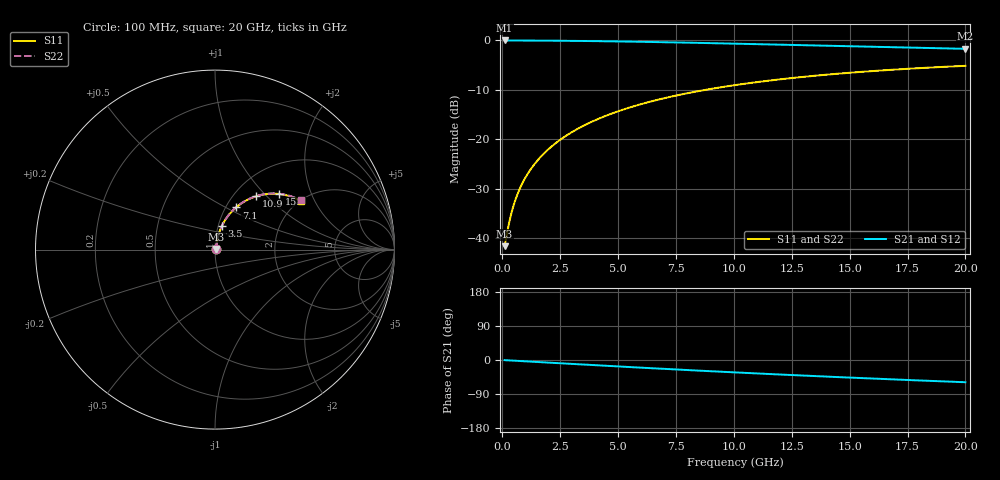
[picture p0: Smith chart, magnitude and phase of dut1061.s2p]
! Touchstone file exported from HFSS 2026.1.0
!  File:  C:/ffzhzh/LocalFiles/Ansys_Project_Files/temp_train_BSMRDL_1061_1783174101_43440.aedt
!  Generated:  10:09:46 PM Jul  4, 2026
!  Design:  BSMRDL
!  Project:  temp_train_BSMRDL_1061_1783174101_43440
! Variables:
!  h_bsmrdl = 3.25um
!  h_ox = 20um
!  h_rdl = 5um
!  h_sub = 80um
!  h_tmrdl = 5um
!  h_tsv = 80um
!  h_via = 3um
!  l_bsmrdl = 894.09um
!  l_sub = 1294.09um
!  l_tmrdl = 200um
!  m_sub = 200um
!  pitch = 40.66um
!  r_tsv = 6um
!  s_tmrdl = 10um
!  w_bsmrdl = 13.55um
!  w_sub = 500um
!  w_tmrdl = 12um
!  x_tsv_center1 = 206um
!  x_tsv_center2 = 1113.64um
!  x_tsv_center3 = 1325.64um
!  x_tsv_center4 = 2233.28um
!  x_tsv_center5 = 2445.28um
!  x_tsv_center6 = 3352.92um
# GHz S MA R 50.000000
! Terminal data exported
! Port[1] = BSM_RDL1_1_T1
! Port[2] = BSM_RDL1_1_T2
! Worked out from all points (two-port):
!   200 points, 100 MHz to 20 GHz, reference 50 ohm
!   highest |S21| = -0.06 dB at 100 MHz (marker M1); lowest = -1.7 dB at 20 GHz (marker M2)
!   |S21| within 3 dB of the highest: start of sweep to end of sweep
!   lowest |S11| = -41.6 dB at 100 MHz (marker M3), VSWR 1.02, Z = 50.7 + j0.422 ohm
!   |S11| at or under -10 dB: start of sweep to 8.817 GHz
!   |S22| runs from -41.6 to -5.2 dB; largest |S21 - S12| = 3.5e-15
!   S11 on the Smith chart (normalised r, x): 100 MHz: 1.01, +0.01; 3.5 GHz: 1.04, +0.28; 7.1 GHz: 1.12, +0.56; 10.9 GHz: 1.26, +0.87; 15.2 GHz: 1.52, +1.22; 20 GHz: 2.02, +1.57
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0.1  0.008318 30.0  0.9928 -0.4  0.9928 -0.4  0.008318 30.0
! Gamma 0 0 0 0
! Port Impedance 50 0 50 0
0.3  0.01453 58.1  0.9925 -1.1  0.9925 -1.1  0.01453 58.1
0.4  0.0182 63.8  0.9922 -1.4  0.9922 -1.4  0.0182 63.8
0.5  0.02194 67.4  0.992 -1.8  0.992 -1.8  0.02194 67.4
0.6  0.02573 69.9  0.9918 -2.1  0.9918 -2.1  0.02573 69.9
0.8  0.03334 73.0  0.9913 -2.8  0.9913 -2.8  0.03334 73.0
1.1  0.04483 75.3  0.9906 -3.8  0.9906 -3.8  0.04483 75.3
1.6  0.06408 76.6  0.9892 -5.6  0.9892 -5.6  0.06408 76.6
2.1  0.08333 76.5  0.9876 -7.3  0.9876 -7.3  0.08332 76.6
2.7  0.1063 75.6  0.985 -9.3  0.985 -9.3  0.1063 75.7
3.5  0.1365 73.8  0.9809 -12.0  0.9809 -12.0  0.1365 73.9
4.2  0.1624 72.0  0.9765 -14.4  0.9765 -14.4  0.1624 72.0
5  0.1913 69.7  0.9707 -17.0  0.9707 -17.0  0.1913 69.8
6.8  0.253 64.3  0.9552 -22.8  0.9552 -22.8  0.253 64.5
7.1  0.2628 63.4  0.9523 -23.8  0.9523 -23.8  0.2628 63.6
8.5  0.3067 59.3  0.9383 -28.1  0.9383 -28.1  0.3067 59.4
10.1  0.353 54.7  0.9211 -32.9  0.9211 -32.9  0.3529 54.8
10.9  0.3745 52.4  0.9122 -35.2  0.9122 -35.2  0.3744 52.6
13.4  0.435 45.6  0.8844 -42.2  0.8844 -42.2  0.4349 45.8
15.2  0.4726 40.9  0.8648 -46.9  0.8648 -46.9  0.4725 41.2
16.7  0.5002 37.2  0.8491 -50.8  0.8491 -50.8  0.5001 37.5
20  0.5505 29.4  0.8179 -58.7  0.8179 -58.7  0.5503 29.8
